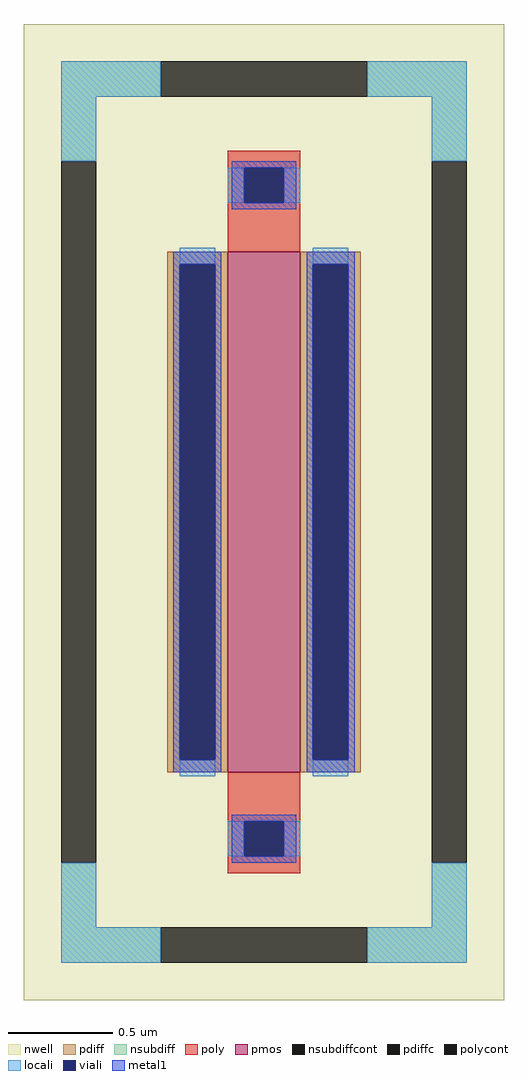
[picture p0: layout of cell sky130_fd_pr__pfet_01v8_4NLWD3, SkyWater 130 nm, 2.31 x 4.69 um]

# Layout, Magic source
magic
tech sky130A
magscale 1 2
<< nwell >>
rect -231 -469 231 469
<< pmos >>
rect -35 -250 35 250
<< pdiff >>
rect -93 238 -35 250
rect -93 -238 -81 238
rect -47 -238 -35 238
rect -93 -250 -35 -238
rect 35 238 93 250
rect 35 -238 47 238
rect 81 -238 93 238
rect 35 -250 93 -238
<< pdiffc >>
rect -81 -238 -47 238
rect 47 -238 81 238
<< nsubdiff >>
rect -195 399 -99 433
rect 99 399 195 433
rect -195 337 -161 399
rect 161 337 195 399
rect -195 -399 -161 -337
rect 161 -399 195 -337
rect -195 -433 -99 -399
rect 99 -433 195 -399
<< nsubdiffcont >>
rect -99 399 99 433
rect -195 -337 -161 337
rect 161 -337 195 337
rect -99 -433 99 -399
<< poly >>
rect -35 331 35 347
rect -35 297 -19 331
rect 19 297 35 331
rect -35 250 35 297
rect -35 -297 35 -250
rect -35 -331 -19 -297
rect 19 -331 35 -297
rect -35 -347 35 -331
<< polycont >>
rect -19 297 19 331
rect -19 -331 19 -297
<< locali >>
rect -195 399 -99 433
rect 99 399 195 433
rect -195 337 -161 399
rect 161 337 195 399
rect -35 297 -19 331
rect 19 297 35 331
rect -81 238 -47 254
rect -81 -254 -47 -238
rect 47 238 81 254
rect 47 -254 81 -238
rect -35 -331 -19 -297
rect 19 -331 35 -297
rect -195 -399 -161 -337
rect 161 -399 195 -337
rect -195 -433 -99 -399
rect 99 -433 195 -399
<< viali >>
rect -19 297 19 331
rect -81 -238 -47 238
rect 47 -238 81 238
rect -19 -331 19 -297
<< metal1 >>
rect -31 331 31 337
rect -31 297 -19 331
rect 19 297 31 331
rect -31 291 31 297
rect -87 238 -41 250
rect -87 -238 -81 238
rect -47 -238 -41 238
rect -87 -250 -41 -238
rect 41 238 87 250
rect 41 -238 47 238
rect 81 -238 87 238
rect 41 -250 87 -238
rect -31 -297 31 -291
rect -31 -331 -19 -297
rect 19 -331 31 -297
rect -31 -337 31 -331
<< properties >>
string FIXED_BBOX -178 -416 178 416
string gencell sky130_fd_pr__pfet_01v8
string library sky130
string parameters w 2.5 l 0.35 m 1 nf 1 diffcov 100 polycov 100 guard 1 glc 1 grc 1 gtc 1 gbc 1 tbcov 100 rlcov 100 topc 1 botc 1 poverlap 0 doverlap 1 lmin 0.15 wmin 0.42 compatible {sky130_fd_pr__pfet_01v8  sky130_fd_pr__pfet_01v8_lvt sky130_fd_pr__pfet_01v8_hvt  sky130_fd_pr__pfet_g5v0d10v5} full_metal 1 viasrc 100 viadrn 100 viagate 100 viagb 0 viagr 0 viagl 0 viagt 0
<< end >>
